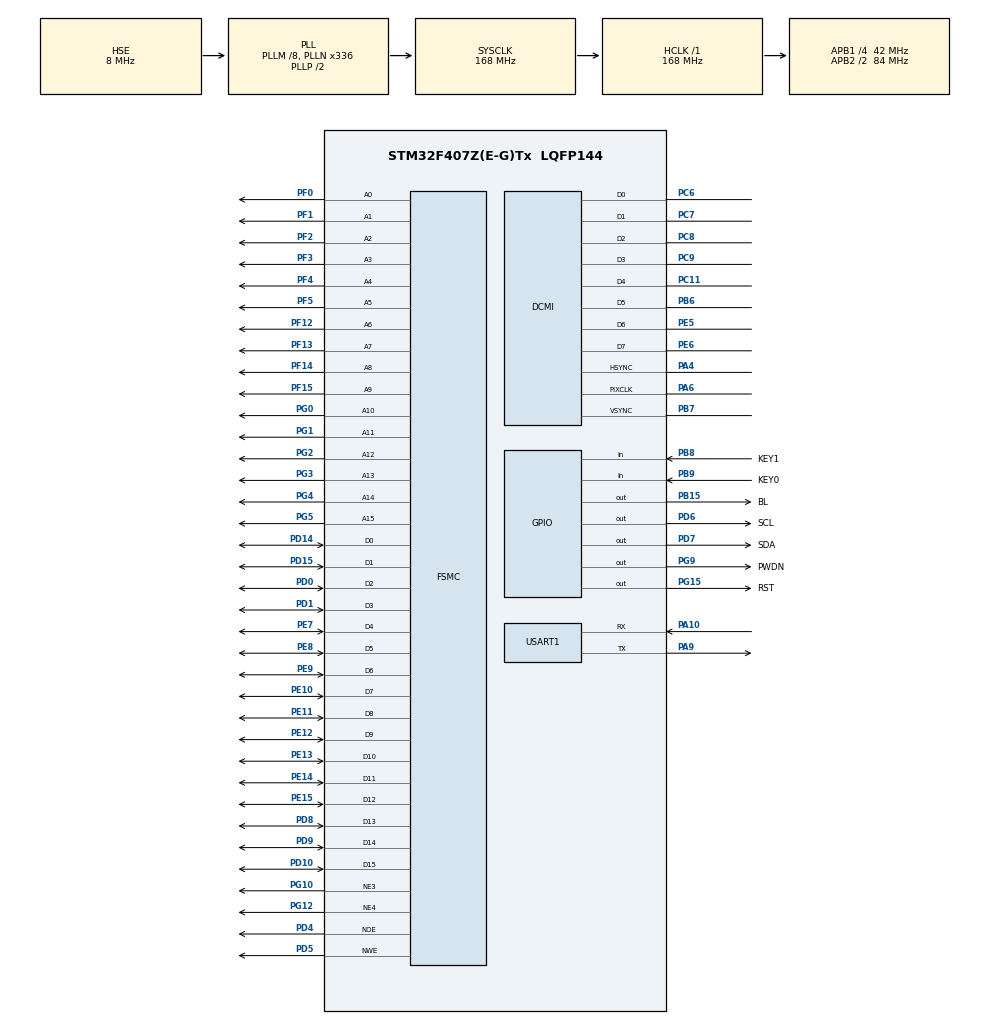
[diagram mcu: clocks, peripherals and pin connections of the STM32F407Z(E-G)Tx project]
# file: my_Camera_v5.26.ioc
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DCMI.JPEGMode=DCMI_JPEG_ENABLE
DCMI.PCKPolarity=DCMI_PCKPOLARITY_RISING
Dma.DCMI.0.Direction=DMA_PERIPH_TO_MEMORY
Dma.DCMI.0.FIFOMode=DMA_FIFOMODE_ENABLE
Dma.DCMI.0.FIFOThreshold=DMA_FIFO_THRESHOLD_HALFFULL
Dma.DCMI.0.Instance=DMA2_Stream1
Dma.DCMI.0.MemBurst=DMA_MBURST_SINGLE
Dma.DCMI.0.MemDataAlignment=DMA_MDATAALIGN_HALFWORD
Dma.DCMI.0.MemInc=DMA_MINC_ENABLE
Dma.DCMI.0.Mode=DMA_CIRCULAR
Dma.DCMI.0.PeriphBurst=DMA_PBURST_SINGLE
Dma.DCMI.0.PeriphDataAlignment=DMA_PDATAALIGN_WORD
Dma.DCMI.0.PeriphInc=DMA_PINC_DISABLE
Dma.DCMI.0.Priority=DMA_PRIORITY_LOW
Dma.Request0=DCMI
Dma.Request1=USART1_TX
Dma.USART1_TX.1.Direction=DMA_MEMORY_TO_PERIPH
Dma.USART1_TX.1.FIFOMode=DMA_FIFOMODE_DISABLE
Dma.USART1_TX.1.Instance=DMA2_Stream7
Dma.USART1_TX.1.MemDataAlignment=DMA_MDATAALIGN_BYTE
Dma.USART1_TX.1.MemInc=DMA_MINC_ENABLE
Dma.USART1_TX.1.Mode=DMA_NORMAL
Dma.USART1_TX.1.PeriphDataAlignment=DMA_PDATAALIGN_BYTE
Dma.USART1_TX.1.PeriphInc=DMA_PINC_DISABLE
Dma.USART1_TX.1.Priority=DMA_PRIORITY_MEDIUM
FSMC.AddressSetupTime3=2
FSMC.AddressSetupTime4=15
FSMC.BusTurnAroundDuration3=1
FSMC.BusTurnAroundDuration4=0
FSMC.DataSetupTime3=3
FSMC.DataSetupTime4=60
FSMC.ExtendedAddressSetupTime4=2
FSMC.ExtendedBusTurnAroundDuration4=0
FSMC.ExtendedDataSetupTime4=2
FSMC.ExtendedMode3=FSMC_EXTENDED_MODE_DISABLE
FSMC.ExtendedMode4=FSMC_EXTENDED_MODE_ENABLE
FSMC.WriteOperation3=FSMC_WRITE_OPERATION_ENABLE
Mcu.Family=STM32F4
Mcu.Name=STM32F407Z(E-G)Tx
Mcu.Package=LQFP144
NVIC.DCMI_IRQn=true\:2\:2\:true\:false\:true\:true\:true\:true
NVIC.DMA2_Stream1_IRQn=true\:2\:3\:true\:false\:true\:false\:true\:true
NVIC.DMA2_Stream7_IRQn=true\:0\:0\:false\:false\:true\:false\:true\:true
NVIC.PriorityGroup=NVIC_PRIORITYGROUP_2
NVIC.TIM6_DAC_IRQn=true\:1\:3\:true\:false\:true\:true\:true\:true
NVIC.USART1_IRQn=true\:0\:0\:false\:false\:true\:true\:true\:true
PA10.Mode=Asynchronous
PA10.Signal=USART1_RX
PA13.Mode=Serial_Wire
PA13.Signal=SYS_JTMS-SWDIO
PA14.Mode=Serial_Wire
PA14.Signal=SYS_JTCK-SWCLK
PA4.GPIO_PuPd=GPIO_PULLUP
PA4.GPIO_Speed=GPIO_SPEED_FREQ_VERY_HIGH
PA4.Mode=Slave_8_bits_External_Synchro
PA4.Signal=DCMI_HSYNC
PA6.GPIO_PuPd=GPIO_PULLUP
PA6.GPIO_Speed=GPIO_SPEED_FREQ_VERY_HIGH
PA6.Mode=Slave_8_bits_External_Synchro
PA6.Signal=DCMI_PIXCLK
PA9.Mode=Asynchronous
PA9.Signal=USART1_TX
PB15.GPIO_Label=BL
PB15.GPIO_Speed=GPIO_SPEED_FREQ_LOW
PB15.Signal=GPIO_Output
PB6.GPIO_PuPd=GPIO_PULLUP
PB6.GPIO_Speed=GPIO_SPEED_FREQ_VERY_HIGH
PB6.Mode=Slave_8_bits_External_Synchro
PB6.Signal=DCMI_D5
PB7.GPIO_PuPd=GPIO_PULLUP
PB7.GPIO_Speed=GPIO_SPEED_FREQ_VERY_HIGH
PB7.Mode=Slave_8_bits_External_Synchro
PB7.Signal=DCMI_VSYNC
PB8.GPIO_Label=KEY1
PB8.GPIO_PuPd=GPIO_PULLUP
PB8.Signal=GPIO_Input
PB9.GPIO_Label=KEY0
PB9.GPIO_PuPd=GPIO_PULLUP
PB9.Signal=GPIO_Input
PC11.GPIO_PuPd=GPIO_PULLUP
PC11.GPIO_Speed=GPIO_SPEED_FREQ_VERY_HIGH
PC11.Mode=Slave_8_bits_External_Synchro
PC11.Signal=DCMI_D4
PC6.GPIO_PuPd=GPIO_PULLUP
PC6.GPIO_Speed=GPIO_SPEED_FREQ_VERY_HIGH
PC6.Mode=Slave_8_bits_External_Synchro
PC6.Signal=DCMI_D0
PC7.GPIO_PuPd=GPIO_PULLUP
PC7.GPIO_Speed=GPIO_SPEED_FREQ_VERY_HIGH
PC7.Mode=Slave_8_bits_External_Synchro
PC7.Signal=DCMI_D1
PC8.GPIO_PuPd=GPIO_PULLUP
PC8.GPIO_Speed=GPIO_SPEED_FREQ_VERY_HIGH
PC8.Mode=Slave_8_bits_External_Synchro
PC8.Signal=DCMI_D2
PC9.GPIO_PuPd=GPIO_PULLUP
PC9.GPIO_Speed=GPIO_SPEED_FREQ_VERY_HIGH
PC9.Mode=Slave_8_bits_External_Synchro
PC9.Signal=DCMI_D3
PD0.Signal=FSMC_D2_DA2
PD1.Signal=FSMC_D3_DA3
PD10.Signal=FSMC_D15_DA15
PD14.Signal=FSMC_D0_DA0
PD15.Signal=FSMC_D1_DA1
PD4.Signal=FSMC_NOE
PD5.Signal=FSMC_NWE
PD6.GPIO_Label=SCL
PD6.GPIO_ModeDefaultOutputPP=GPIO_MODE_OUTPUT_OD
PD6.GPIO_PuPd=GPIO_PULLUP
PD6.GPIO_Speed=GPIO_SPEED_FREQ_VERY_HIGH
PD6.Signal=GPIO_Output
PD7.GPIO_Label=SDA
PD7.GPIO_ModeDefaultOutputPP=GPIO_MODE_OUTPUT_OD
PD7.GPIO_PuPd=GPIO_PULLUP
PD7.GPIO_Speed=GPIO_SPEED_FREQ_VERY_HIGH
PD7.Signal=GPIO_Output
PD8.Signal=FSMC_D13_DA13
PD9.Signal=FSMC_D14_DA14
PE0.Signal=FSMC_NBL0
PE1.Signal=FSMC_NBL1
PE10.Signal=FSMC_D7_DA7
PE11.Signal=FSMC_D8_DA8
PE12.Signal=FSMC_D9_DA9
PE13.Signal=FSMC_D10_DA10
PE14.Signal=FSMC_D11_DA11
PE15.Signal=FSMC_D12_DA12
PE5.GPIO_PuPd=GPIO_PULLUP
PE5.GPIO_Speed=GPIO_SPEED_FREQ_VERY_HIGH
PE5.Mode=Slave_8_bits_External_Synchro
PE5.Signal=DCMI_D6
PE6.GPIO_PuPd=GPIO_PULLUP
PE6.GPIO_Speed=GPIO_SPEED_FREQ_VERY_HIGH
PE6.Mode=Slave_8_bits_External_Synchro
PE6.Signal=DCMI_D7
PE7.Signal=FSMC_D4_DA4
PE8.Signal=FSMC_D5_DA5
PE9.Signal=FSMC_D6_DA6
PF0.Signal=FSMC_A0
PF1.Signal=FSMC_A1
PF12.Signal=FSMC_A6
PF13.Signal=FSMC_A7
PF14.Signal=FSMC_A8
PF15.Signal=FSMC_A9
PF2.Signal=FSMC_A2
PF3.Signal=FSMC_A3
PF4.Signal=FSMC_A4
PF5.Signal=FSMC_A5
PG0.Signal=FSMC_A10
PG1.Signal=FSMC_A11
PG10.Mode=NorPsramChipSelect3_3
PG10.Signal=FSMC_NE3
PG12.Mode=NorPsramChipSelect4_4
PG12.Signal=FSMC_NE4
PG15.GPIO_Label=RST
PG15.GPIO_PuPd=GPIO_PULLUP
PG15.GPIO_Speed=GPIO_SPEED_FREQ_VERY_HIGH
PG15.Signal=GPIO_Output
PG2.Signal=FSMC_A12
PG3.Signal=FSMC_A13
PG4.Signal=FSMC_A14
PG5.Signal=FSMC_A15
PG9.GPIO_Label=PWDN
PG9.GPIO_PuPd=GPIO_PULLUP
PG9.GPIO_Speed=GPIO_SPEED_FREQ_VERY_HIGH
PG9.Signal=GPIO_Output
PH0-OSC_IN.Mode=HSE-External-Oscillator
PH0-OSC_IN.Signal=RCC_OSC_IN
PH1-OSC_OUT.Mode=HSE-External-Oscillator
PH1-OSC_OUT.Signal=RCC_OSC_OUT
ProjectManager.HeapSize=0x200
ProjectManager.StackSize=0x400
ProjectManager.TargetToolchain=MDK-ARM V5.32
RCC.48MHZClocksFreq_Value=84000000
RCC.AHBFreq_Value=168000000
RCC.APB1CLKDivider=RCC_HCLK_DIV4
RCC.APB1Freq_Value=42000000
RCC.APB1TimFreq_Value=84000000
RCC.APB2CLKDivider=RCC_HCLK_DIV2
RCC.APB2Freq_Value=84000000
RCC.APB2TimFreq_Value=168000000
RCC.CortexFreq_Value=168000000
RCC.HCLKFreq_Value=168000000
RCC.HSE_VALUE=8000000
RCC.HSI_VALUE=16000000
RCC.LSE_VALUE=32768
RCC.PLLM=8
RCC.PLLN=336
RCC.PLLSourceVirtual=RCC_PLLSOURCE_HSE
RCC.SYSCLKFreq_VALUE=168000000
RCC.SYSCLKSource=RCC_SYSCLKSOURCE_PLLCLK
RCC.VCOOutputFreq_Value=336000000
SH.FSMC_A0.0=FSMC_A0,16b-a3
SH.FSMC_A1.0=FSMC_A1,16b-a3
SH.FSMC_A10.0=FSMC_A10,16b-a3
SH.FSMC_A11.0=FSMC_A11,16b-a3
SH.FSMC_A12.0=FSMC_A12,16b-a3
SH.FSMC_A13.0=FSMC_A13,16b-a3
SH.FSMC_A14.0=FSMC_A14,16b-a3
SH.FSMC_A15.0=FSMC_A15,16b-a3
SH.FSMC_A2.0=FSMC_A2,16b-a3
SH.FSMC_A3.0=FSMC_A3,16b-a3
SH.FSMC_A4.0=FSMC_A4,16b-a3
SH.FSMC_A5.0=FSMC_A5,16b-a3
SH.FSMC_A6.0=FSMC_A6,A6_4
SH.FSMC_A6.1=FSMC_A6,16b-a3
SH.FSMC_A7.0=FSMC_A7,16b-a3
SH.FSMC_A8.0=FSMC_A8,16b-a3
SH.FSMC_A9.0=FSMC_A9,16b-a3
SH.FSMC_D0_DA0.0=FSMC_D0,16b-d4
SH.FSMC_D0_DA0.1=FSMC_D0,16b-d3
SH.FSMC_D10_DA10.0=FSMC_D10,16b-d4
SH.FSMC_D10_DA10.1=FSMC_D10,16b-d3
SH.FSMC_D11_DA11.0=FSMC_D11,16b-d4
SH.FSMC_D11_DA11.1=FSMC_D11,16b-d3
SH.FSMC_D12_DA12.0=FSMC_D12,16b-d4
SH.FSMC_D12_DA12.1=FSMC_D12,16b-d3
SH.FSMC_D13_DA13.0=FSMC_D13,16b-d4
SH.FSMC_D13_DA13.1=FSMC_D13,16b-d3
SH.FSMC_D14_DA14.0=FSMC_D14,16b-d4
SH.FSMC_D14_DA14.1=FSMC_D14,16b-d3
SH.FSMC_D15_DA15.0=FSMC_D15,16b-d4
SH.FSMC_D15_DA15.1=FSMC_D15,16b-d3
SH.FSMC_D1_DA1.0=FSMC_D1,16b-d4
SH.FSMC_D1_DA1.1=FSMC_D1,16b-d3
SH.FSMC_D2_DA2.0=FSMC_D2,16b-d4
SH.FSMC_D2_DA2.1=FSMC_D2,16b-d3
SH.FSMC_D3_DA3.0=FSMC_D3,16b-d4
SH.FSMC_D3_DA3.1=FSMC_D3,16b-d3
SH.FSMC_D4_DA4.0=FSMC_D4,16b-d4
SH.FSMC_D4_DA4.1=FSMC_D4,16b-d3
SH.FSMC_D5_DA5.0=FSMC_D5,16b-d4
SH.FSMC_D5_DA5.1=FSMC_D5,16b-d3
SH.FSMC_D6_DA6.0=FSMC_D6,16b-d4
SH.FSMC_D6_DA6.1=FSMC_D6,16b-d3
SH.FSMC_D7_DA7.0=FSMC_D7,16b-d4
SH.FSMC_D7_DA7.1=FSMC_D7,16b-d3
SH.FSMC_D8_DA8.0=FSMC_D8,16b-d4
SH.FSMC_D8_DA8.1=FSMC_D8,16b-d3
SH.FSMC_D9_DA9.0=FSMC_D9,16b-d4
SH.FSMC_D9_DA9.1=FSMC_D9,16b-d3
SH.FSMC_NBL0.0=FSMC_NBL0
SH.FSMC_NBL1.0=FSMC_NBL1
SH.FSMC_NOE.0=FSMC_NOE,Lcd4
SH.FSMC_NOE.1=FSMC_NOE,Sram3
SH.FSMC_NWE.0=FSMC_NWE,Lcd4
SH.FSMC_NWE.1=FSMC_NWE,Sram3
TIM6.AutoReloadPreload=TIM_AUTORELOAD_PRELOAD_ENABLE
TIM6.Period=10000 - 1
TIM6.Prescaler=8400 - 1
USART1.VirtualMode=VM_ASYNC
VP_TIM6_VS_ClockSourceINT.Mode=Enable_Timer
board=custom

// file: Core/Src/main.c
/* USER CODE BEGIN Header */
/**
  ******************************************************************************
  * @file           : main.c
  * @brief          : Main program body
  ******************************************************************************
  * @attention
  *
  * Copyright (c) 2026 STMicroelectronics.
  * All rights reserved.
  *
  * This software is licensed under terms that can be found in the LICENSE file
  * in the root directory of this software component.
  * If no LICENSE file comes with this software, it is provided AS-IS.
  *
  ******************************************************************************
  */
/* USER CODE END Header */
#include "main.h"
#include "dcmi.h"
#include "dma.h"
#include "tim.h"
#include "usart.h"
#include "gpio.h"
#include "fsmc.h"

/* USER CODE BEGIN Includes */
#include "ov2640.h"
#include "dcmi_app.h"
#include "lcd.h"
#include "key.h"
#include "photo.h"
#include <stdio.h>
#include <string.h>

/* USER CODE END Includes */

void SystemClock_Config(void);

int main(void)
{

  /* MCU Configuration--------------------------------------------------------*/

  /* Reset of all peripherals, Initializes the Flash interface and the Systick. */
  HAL_Init();

  /* Configure the system clock */
  SystemClock_Config();

  /* Initialize all configured peripherals */
  MX_GPIO_Init();
  MX_DMA_Init();
  MX_DCMI_Init();
  MX_FSMC_Init();
  MX_USART1_UART_Init();
  MX_TIM6_Init();
  /* USER CODE BEGIN 2 */
	HAL_TIM_Base_Start_IT(&htim6);
	delay_Init();
	lcd_init();
	usart_rx_start();               /* 开启串口命令接收中断 */

	int8_t key = -1;
	photo_err_t err = PHOTO_OK;
	uint8_t scale = 1;              /* 1=Scale(全图缩放) 0=FullSize(1:1) */
	char msgbuf[16];                /* 缩放模式提示缓冲 */
	char cmd[16];                   /* 串口命令缓冲 */

	lcd_show_string(30, 50, 200, 16, 16, "STM32", RED);
	lcd_show_string(30, 70, 200, 16, 16, "OV2640 CAMERA", RED);
	lcd_show_string(30, 90, 200, 16, 16, "ATOM@ALIENTEK", RED);

	while (ov2640_init())
  {
      lcd_show_string(30, 130, 240, 16, 16, "OV2640 ERROR", RED);
      delay_ms(200);
  }

  lcd_show_string(30, 130, 200, 16, 16, "OV2640 OK", RED);

	/* SD 卡就绪检测: 挂载 + 建目录 + 定位下一个可用序号 */
	if (photo_sd_ready() == PHOTO_OK)
	{
		lcd_show_string(30, 150, 200, 16, 16, "SD OK", RED);
	}
	else
	{
		lcd_show_string(30, 150, 240, 16, 16, "SD ERROR", RED);
	}

	/* 提示文字需在预览启动前写, 预览(DMA直写LCD)启动后不能再用显示函数 */
	lcd_show_string(30, 170, 240, 16, 16, "Scale", RED);
	lcd_show_string(30, 190, 240, 16, 16, "KEY0:BMP KEY1:JPG", RED);
	lcd_show_string(30, 210, 240, 16, 16, "WK_UP:ZOOM", RED);

	photo_preview_rgb565();

  /* USER CODE END 2 */

  /* Infinite loop */
  while (1)
  {
		/* ====================== 串口命令处理 ======================
		 * 通过串口助手发送(以换行结尾):
		 *   JPEG  -> 拍一张 JPEG 照片并存 SD 卡
		 *   BMP   -> 拍一张 RGB565 照片并转存 BMP 文件
		 *   HELP  -> 打印支持的命令
		 */
		if (usart_cmd_poll(cmd, sizeof(cmd)))
		{
			if (strcmp(cmd, "JPEG") == 0)
			{
				printf("CMD: JPEG capture\r\n");
				err = photo_capture_jpeg();
				if (err == PHOTO_OK) err = photo_store_to_sdcard();
				printf("RESULT: %s\r\n", photo_err_str(err));
				photo_preview_rgb565();
			}
			else if (strcmp(cmd, "BMP") == 0)
			{
				printf("CMD: BMP capture\r\n");
				err = photo_capture_rgb565();
				if (err == PHOTO_OK) err = photo_store_to_sdcard();
				printf("RESULT: %s\r\n", photo_err_str(err));
				photo_preview_rgb565();
			}
			else if (strcmp(cmd, "HELP") == 0)
			{
				printf("CMDS: JPEG / BMP / HELP\r\n");
			}
			else
			{
				printf("unknown cmd: %s\r\n", cmd);
			}
		}

		key = key_scan(0);

		if (key == KEY0_PRES)
		{
			dcmi_stop();                                    /* 停止预览, 安全写文字 */
			lcd_show_string(30, 190, 240, 16, 16, "BMP capturing...", RED);
			err = photo_capture_rgb565();
			if (err == PHOTO_OK) err = photo_store_to_sdcard();
			lcd_show_string(30, 170, 240, 16, 16, (char *)photo_err_str(err), RED);
			delay_ms(1200);
			photo_preview_rgb565();
		}
		else if (key == KEY1_PRES)
		{
			dcmi_stop();
			lcd_show_string(30, 190, 240, 16, 16, "JPEG capturing...", RED);
			err = photo_capture_jpeg();
			if (err == PHOTO_OK) err = photo_store_to_sdcard();
			lcd_show_string(30, 170, 240, 16, 16, (char *)photo_err_str(err), RED);
			delay_ms(1200);
			photo_preview_rgb565();
		}
		else if (key == WKUP_PRES)
		{
			dcmi_stop();
			scale = !scale;
			if (scale == 0)
			{
				/* FullSize 1:1: 从传感器窗口中间裁出 LCD 尺寸区域 */
				ov2640_image_win_set((OV2640_SENSOR_WIDTH - lcddev.width) / 2,
				                     (OV2640_SENSOR_HEIGHT - lcddev.height) / 2,
				                     lcddev.width, lcddev.height);
				ov2640_outsize_set(lcddev.width, lcddev.height);
				sprintf(msgbuf, "Full Size 1:1");
			}
			else
			{
				/* Scale: 全传感器窗口缩放输出到 LCD 尺寸 */
				ov2640_image_win_set(0, 0, OV2640_SENSOR_WIDTH, OV2640_SENSOR_HEIGHT);
				ov2640_outsize_set(lcddev.width, lcddev.height);
				sprintf(msgbuf, "Scale");
			}
			lcd_show_string(30, 170, 240, 16, 16, msgbuf, RED);
			delay_ms(800);
			photo_preview_rgb565();
		}

		delay_ms(10);
  }
}

void SystemClock_Config(void)
{
  RCC_OscInitTypeDef RCC_OscInitStruct = {0};
  RCC_ClkInitTypeDef RCC_ClkInitStruct = {0};

  /** Configure the main internal regulator output voltage
  */
  __HAL_RCC_PWR_CLK_ENABLE();
  __HAL_PWR_VOLTAGESCALING_CONFIG(PWR_REGULATOR_VOLTAGE_SCALE1);

  /** Initializes the RCC Oscillators according to the specified parameters
  * in the RCC_OscInitTypeDef structure.
  */
  RCC_OscInitStruct.OscillatorType = RCC_OSCILLATORTYPE_HSE;
  RCC_OscInitStruct.HSEState = RCC_HSE_ON;
  RCC_OscInitStruct.PLL.PLLState = RCC_PLL_ON;
  RCC_OscInitStruct.PLL.PLLSource = RCC_PLLSOURCE_HSE;
  RCC_OscInitStruct.PLL.PLLM = 8;
  RCC_OscInitStruct.PLL.PLLN = 336;
  RCC_OscInitStruct.PLL.PLLP = RCC_PLLP_DIV2;
  RCC_OscInitStruct.PLL.PLLQ = 7;
  if (HAL_RCC_OscConfig(&RCC_OscInitStruct) != HAL_OK)
  {
    Error_Handler();
  }

  /** Initializes the CPU, AHB and APB buses clocks
  */
  RCC_ClkInitStruct.ClockType = RCC_CLOCKTYPE_HCLK|RCC_CLOCKTYPE_SYSCLK
                              |RCC_CLOCKTYPE_PCLK1|RCC_CLOCKTYPE_PCLK2;
  RCC_ClkInitStruct.SYSCLKSource = RCC_SYSCLKSOURCE_PLLCLK;
  RCC_ClkInitStruct.AHBCLKDivider = RCC_SYSCLK_DIV1;
  RCC_ClkInitStruct.APB1CLKDivider = RCC_HCLK_DIV4;
  RCC_ClkInitStruct.APB2CLKDivider = RCC_HCLK_DIV2;

  if (HAL_RCC_ClockConfig(&RCC_ClkInitStruct, FLASH_LATENCY_5) != HAL_OK)
  {
    Error_Handler();
  }
}

void Error_Handler(void)
{
  __disable_irq();
  while (1)
  {
  }
}
